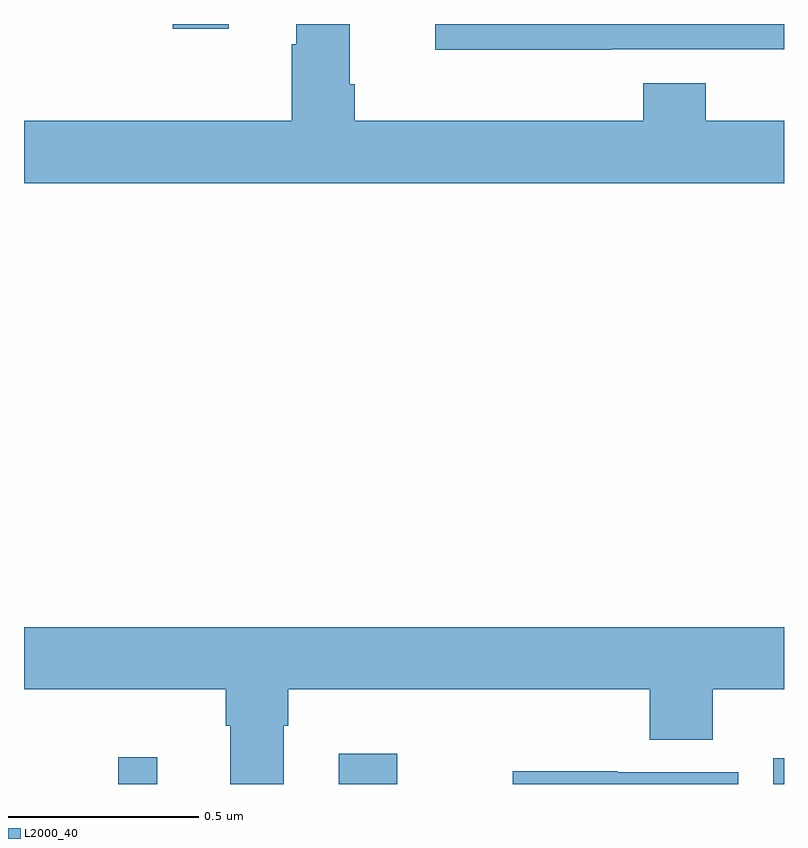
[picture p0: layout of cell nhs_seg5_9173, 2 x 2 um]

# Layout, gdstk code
import gdstk
lib = gdstk.Library(unit=1e-6, precision=1e-09)
def R(c, l, rs):  # rectangles x0, y0, x1, y1
    for r in rs: c.add(gdstk.rectangle(r[:2], r[2:], *l))
def P(c, l, *ps):  # polygons
    for p in ps: c.add(gdstk.Polygon(p, *l))
L2000_40 = (2000, 40)

nhs_seg5_9173 = lib.new_cell('nhs_seg5_9173')
R(nhs_seg5_9173, L2000_40, [(230.248,901.799,230.351,901.87), (230.828,901.799,230.982,901.879), (231.972,901.799,232,901.867), (230.391,903.786,230.539,903.799)])
P(nhs_seg5_9173, L2000_40, [(232,903.544),(231.794,903.544),(231.794,903.643),(231.629,903.643),(231.629,903.544),(230.87,903.544),(230.87,903.64),(230.857,903.64),(230.857,903.799),(230.717,903.799),(230.717,903.746),(230.705,903.746),(230.705,903.544),(230,903.544),(230,903.38),(232,903.38)],
  [(231.545,903.732),(232,903.732),(232,903.799),(231.082,903.799),(231.082,903.731),(231.545,903.731)],
  [(230.683,901.952),(230.696,901.952),(230.696,902.048),(231.647,902.048),(231.647,901.915),(231.812,901.915),(231.812,902.048),(232,902.048),(232,902.212),(230,902.212),(230,902.048),(230.531,902.048),(230.531,901.952),(230.543,901.952),(230.543,901.799),(230.683,901.799)],
  [(231.879,901.83),(231.563,901.83),(231.563,901.832),(231.286,901.832),(231.286,901.799),(231.879,901.799)])

lib.write_gds('nhs_seg5_9173.gds')
